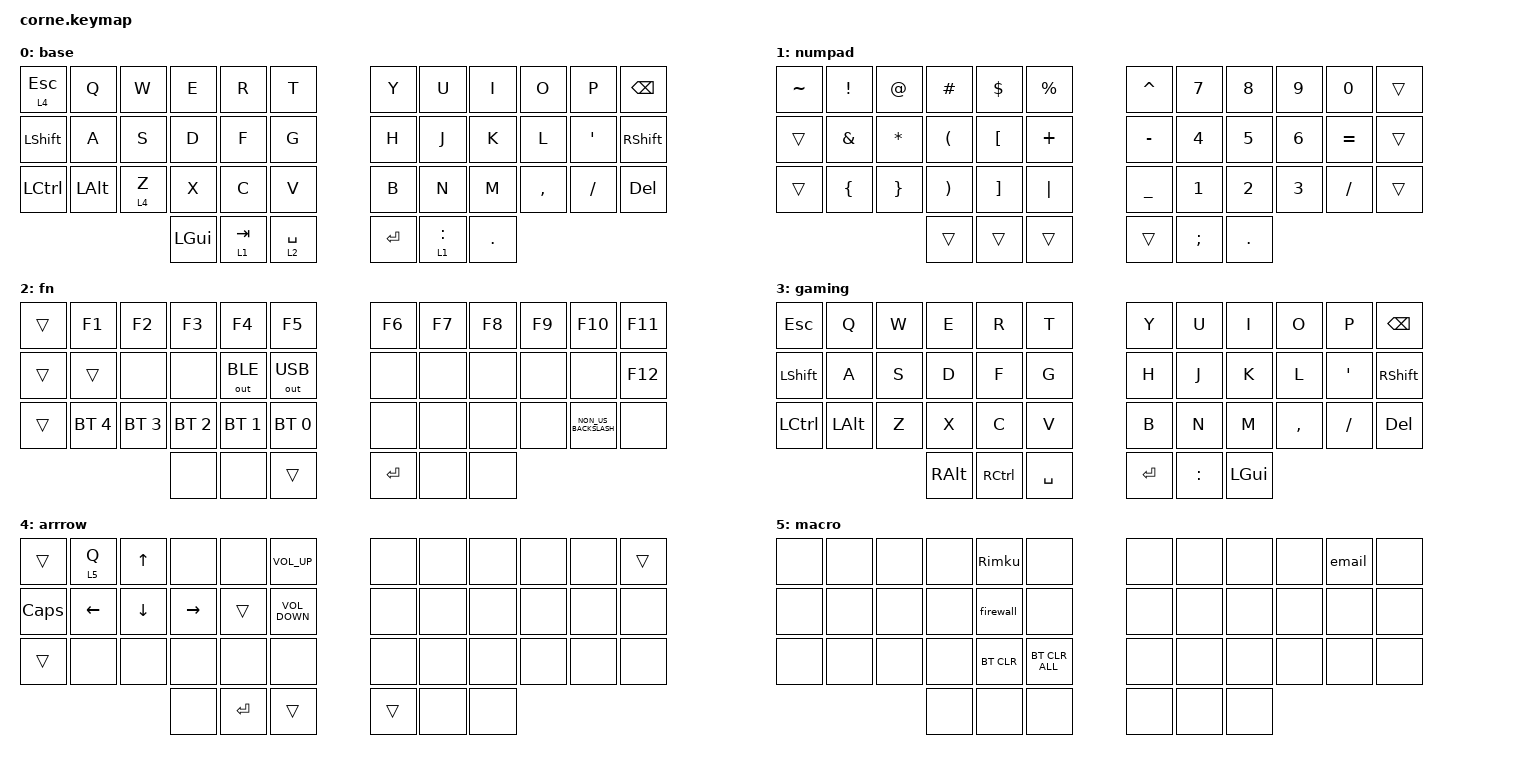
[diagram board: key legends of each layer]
/*
 * SPDX-License-Identifier: MIT
 */

#include <behaviors.dtsi>
#include <dt-bindings/zmk/bt.h>
#include <dt-bindings/zmk/keys.h>
#include <dt-bindings/zmk/outputs.h>

/ {
    /* =========================
     * MACROS
     * ========================= */

    macros {
        email: email {
            compatible = "zmk,behavior-macro";
            #binding-cells = <0>;
            bindings =
                <&kp H &kp A &kp R &kp W>,
                <&macro_wait_time 10>,
                <&kp I &kp N>,
                <&macro_wait_time 13>,
                <&kp D &kp E &kp R>,
                <&macro_wait_time 11>,
                <&kp DOT &kp S &kp I>,
                <&macro_wait_time 9>,
                <&kp N &kp G &kp H &kp AT>,
                <&macro_wait_time 8>,
                <&kp P &kp H &kp I>,
                <&macro_wait_time 12>,
                <&kp L &kp I &kp P &kp S>,
                <&macro_wait_time 14>,
                <&kp DOT>,
                <&macro_wait_time 12>,
                <&kp C &kp O &kp M>;

            label = "EMAIL";
        };

        Rimku: Rimku {
            compatible = "zmk,behavior-macro";
            #binding-cells = <0>;
            bindings =
                <&kp LS(R)>,
                <&macro_wait_time 10>,
                <&kp EXCL>,
                <&macro_wait_time 12>,
                <&kp M>,
                <&macro_wait_time 7>,
                <&kp K>,
                <&macro_wait_time 12>,
                <&kp U>,
                <&macro_wait_time 10>,
                <&kp N5>,
                <&macro_wait_time 9>,
                <&kp I>,
                <&macro_wait_time 9>,
                <&kp S &kp E>,
                <&macro_wait_time 7>,
                <&kp AT>;

            label = "RIMKU";
        };

        firewall: firewall {
            compatible = "zmk,behavior-macro";
            #binding-cells = <0>;
            bindings =
                <&kp LS(F)>,
                <&macro_wait_time 10>,
                <&kp EXCL>,
                <&macro_wait_time 11>,
                <&kp R>,
                <&macro_wait_time 19>,
                <&kp E>,
                <&macro_wait_time 7>,
                <&kp W>,
                <&macro_wait_time 8>,
                <&kp AT>,
                <&macro_wait_time 7>,
                <&kp L &kp L>,
                <&macro_wait_time 7>,
                <&kp AT_SIGN>;

            label = "FIREWALL";
        };
    };

    combos {
        compatible = "zmk,combos";

        gaming {
            bindings = <&tog 3>;
            key-positions = <34 35 33>;
            layers = <0 3>;
        };

        Enter {
            bindings = <&kp ENTER>;
            key-positions = <16 17>;
            layers = <0 4>;
        };

        back {
            bindings = <&kp BACKSPACE>;
            key-positions = <4 5>;
            layers = <0 4>;
        };

        NFILE {
            bindings = <&kp LC(N)>;
            key-positions = <27 28>;
        };

        print {
            bindings = <&kp PRINTSCREEN>;
            key-positions = <36 37 38>;
            layers = <0>;
        };

        appswitch {
            bindings = <&kp LA(TAB)>;
            key-positions = <25 26>;
            layers = <0>;
        };

        lt4 {
            bindings = <&tog 4>;
            key-positions = <5 17 29>;
            layers = <0 4>;
        };

        caps {
            bindings = <&kp CAPSLOCK>;
            key-positions = <12 14 13>;
            layers = <0>;
        };
    };

    keymap {
        compatible = "zmk,keymap";

        /* =========================================================
         * BASE LAYER
         * ========================================================= */

        base {
            bindings = <
&lt 4 ESCAPE    &kp Q         &kp W    &kp E         &kp R      &kp T          &kp Y      &kp U        &kp I       &kp O      &kp P      &kp BACKSPACE
&kp LEFT_SHIFT  &kp A         &kp S    &kp D         &kp F      &kp G          &kp H      &kp J        &kp K       &kp L      &kp SQT    &kp RIGHT_SHIFT
&kp LCTRL       &kp LEFT_ALT  &lt 4 Z  &kp X         &kp C      &kp V          &kp B      &kp N        &kp M       &kp COMMA  &kp SLASH  &kp DELETE
                                       &kp LEFT_GUI  &lt 1 TAB  &lt 2 SPACE    &kp ENTER  &lt 1 COLON  &kp PERIOD
            >;
        };

        numpad {
            bindings = <
&kp TILDE  &kp EXCLAMATION  &kp AT_SIGN      &kp HASH              &kp DOLLAR         &kp PERCENT    &kp CARET       &kp N7         &kp N8      &kp N9  &kp N0     &trans
&trans     &kp AMPERSAND    &kp ASTERISK     &kp LEFT_PARENTHESIS  &kp LEFT_BRACKET   &kp PLUS       &kp MINUS       &kp N4         &kp N5      &kp N6  &kp EQUAL  &trans
&trans     &kp LEFT_BRACE   &kp RIGHT_BRACE  &kp RPAR              &kp RIGHT_BRACKET  &kp PIPE       &kp UNDERSCORE  &kp N1         &kp N2      &kp N3  &kp FSLH   &trans
                                             &trans                &trans             &trans         &trans          &kp SEMICOLON  &kp PERIOD
            >;
        };

        fn {
            bindings = <
&trans  &kp F1        &kp F2        &kp F3        &kp F4        &kp F5          &kp F6     &kp F7  &kp F8  &kp F9  &kp F10               &kp F11
&trans  &trans        &none         &none         &out OUT_BLE  &out OUT_USB    &none      &none   &none   &none   &none                 &kp F12
&trans  &bt BT_SEL 4  &bt BT_SEL 3  &bt BT_SEL 2  &bt BT_SEL 1  &bt BT_SEL 0    &none      &none   &none   &none   &kp NON_US_BACKSLASH  &none
                                    &none         &none         &trans          &kp ENTER  &none   &none
            >;
        };

        gaming {
            bindings = <
&kp ESC         &kp Q     &kp W  &kp E          &kp R              &kp T        &kp Y      &kp U      &kp I         &kp O      &kp P      &kp BACKSPACE
&kp LEFT_SHIFT  &kp A     &kp S  &kp D          &kp F              &kp G        &kp H      &kp J      &kp K         &kp L      &kp SQT    &kp RSHFT
&kp LCTRL       &kp LALT  &kp Z  &kp X          &kp C              &kp V        &kp B      &kp N      &kp M         &kp COMMA  &kp SLASH  &kp DEL
                                 &kp RIGHT_ALT  &kp RIGHT_CONTROL  &kp SPACE    &kp ENTER  &kp COLON  &kp LEFT_GUI
            >;
        };

        arrrow {
            bindings = <
&trans        &lt 5 Q         &kp UP_ARROW    &none            &none      &kp C_VOLUME_UP      &none   &none  &none  &none  &none  &trans
&kp CAPSLOCK  &kp LEFT_ARROW  &kp DOWN_ARROW  &kp RIGHT_ARROW  &trans     &kp C_VOLUME_DOWN    &none   &none  &none  &none  &none  &none
&trans        &none           &none           &none            &none      &none                &none   &none  &none  &none  &none  &none
                                              &none            &kp ENTER  &trans               &trans  &none  &none
            >;
        };

        macro {
            bindings = <
&none  &none  &none  &none  &Rimku      &none             &none  &none  &none  &none  &email  &none
&none  &none  &none  &none  &firewall   &none             &none  &none  &none  &none  &none   &none
&none  &none  &none  &none  &bt BT_CLR  &bt BT_CLR_ALL    &none  &none  &none  &none  &none   &none
                     &none  &none       &none             &none  &none  &none
            >;
        };
    };
};
